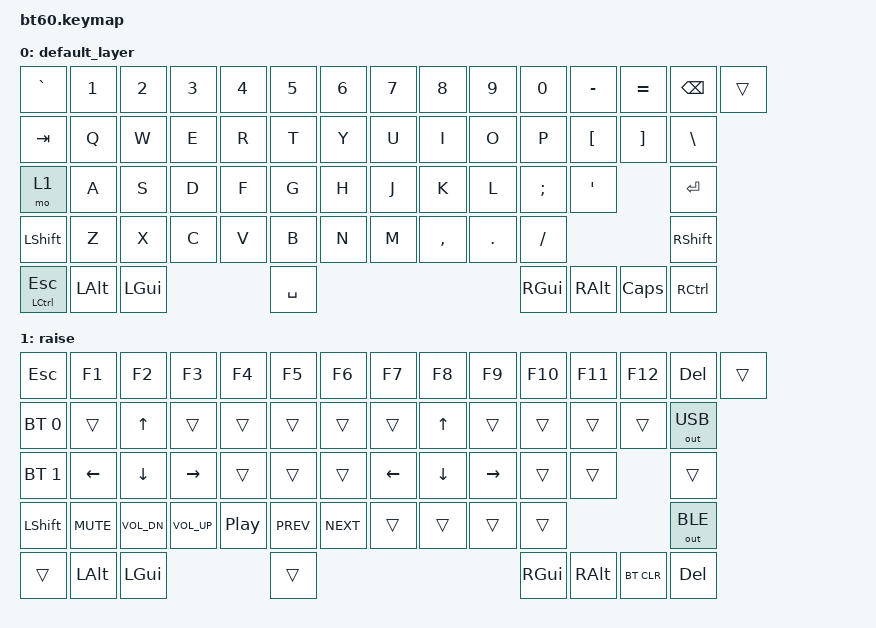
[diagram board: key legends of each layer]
#include <behaviors.dtsi>
#include <dt-bindings/zmk/keys.h>
#include <dt-bindings/zmk/bt.h>
#include <dt-bindings/zmk/outputs.h>

/ {
	keymap {
		compatible = "zmk,keymap";

		default_layer {
			bindings = <
        &kp GRAVE     &kp N1   &kp N2 &kp N3 &kp N4 &kp N5 &kp N6 &kp N7 &kp N8    &kp N9   &kp N0   &kp MINUS &kp EQUAL &kp BSPC  &trans
        &kp TAB       &kp Q    &kp W  &kp E  &kp R  &kp T  &kp Y  &kp U  &kp I     &kp O    &kp P    &kp LBKT  &kp RBKT  &kp BSLH
        &mo 1         &kp A    &kp S  &kp D  &kp F  &kp G  &kp H  &kp J  &kp K     &kp L    &kp SEMI &kp SQT             &kp RET
        &kp LSHFT     &kp Z    &kp X  &kp C  &kp V  &kp B  &kp N  &kp M  &kp COMMA &kp DOT  &kp FSLH                     &kp RSHFT
        &mt LCTRL ESC &kp LALT &kp LGUI             &kp SPACE                               &kp RGUI &kp RALT  &kp CLCK  &kp RCTRL
			>;
		};
		raise {
			bindings = <
        &kp ESC      &kp F1       &kp F2       &kp F3       &kp F4           &kp F5     &kp F6     &kp F7	&kp F8   	&kp F9    	&kp F10   &kp F11 &kp F12    &kp DEL       &trans
        &bt BT_SEL 0 &trans       &kp UP       &trans       &trans           &trans     &trans     &trans 	&kp UP		&trans    	&trans    &trans  &trans     &out OUT_USB 
        &bt BT_SEL 1 &kp LEFT     &kp DOWN     &kp RIGHT    &trans           &trans     &trans     &kp LEFT 	&kp DOWN	&kp RIGHT	&trans    &trans             &trans
        &kp LSHFT  &kp C_MUTE   &kp C_VOL_DN &kp C_VOL_UP &kp C_PLAY_PAUSE &kp C_PREV &kp C_NEXT &trans 	&trans		&trans    	&trans                       &out OUT_BLE
        &trans       &kp LALT &kp LGUI                                     &trans                       &kp RGUI  &kp RALT  &bt BT_CLR  &kp DEL
			>;
		};
	};
};
